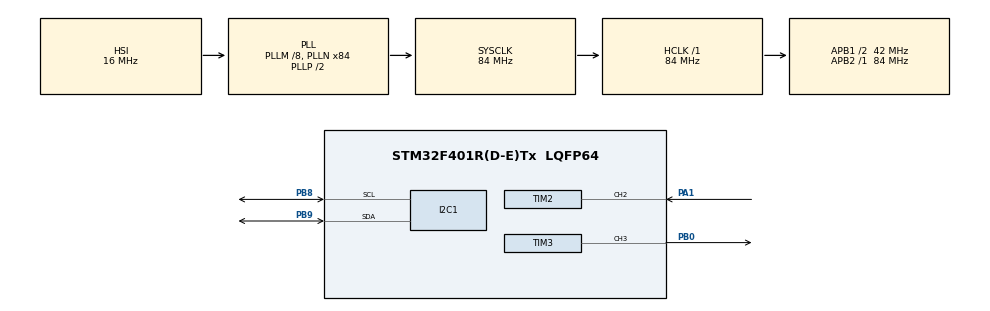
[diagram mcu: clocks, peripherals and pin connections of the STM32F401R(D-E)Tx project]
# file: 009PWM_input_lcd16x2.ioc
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Mcu.Family=STM32F4
Mcu.Name=STM32F401R(D-E)Tx
Mcu.Package=LQFP64
NVIC.PriorityGroup=NVIC_PRIORITYGROUP_4
NVIC.TIM2_IRQn=true\:0\:0\:false\:false\:true\:true\:true
PA1.Signal=S_TIM2_CH2
PB0.Signal=S_TIM3_CH3
PB8.Mode=I2C
PB8.Signal=I2C1_SCL
PB9.Mode=I2C
PB9.Signal=I2C1_SDA
PH0\ -\ OSC_IN.Mode=HSE-External-Clock-Source
PH0\ -\ OSC_IN.Signal=RCC_OSC_IN
PH1\ -\ OSC_OUT.Mode=HSE-External-Clock-Source
PH1\ -\ OSC_OUT.Signal=RCC_OSC_OUT
ProjectManager.HeapSize=0x200
ProjectManager.StackSize=0x400
ProjectManager.TargetToolchain=STM32CubeIDE
RCC.48MHZClocksFreq_Value=42000000
RCC.AHBFreq_Value=84000000
RCC.APB1CLKDivider=RCC_HCLK_DIV2
RCC.APB1Freq_Value=42000000
RCC.APB1TimFreq_Value=84000000
RCC.APB2Freq_Value=84000000
RCC.APB2TimFreq_Value=84000000
RCC.CortexFreq_Value=84000000
RCC.HCLKFreq_Value=84000000
RCC.HSE_VALUE=25000000
RCC.HSI_VALUE=16000000
RCC.LSE_VALUE=32768
RCC.PLLM=8
RCC.PLLN=84
RCC.SYSCLKFreq_VALUE=84000000
RCC.SYSCLKSource=RCC_SYSCLKSOURCE_PLLCLK
RCC.VCOOutputFreq_Value=168000000
SH.S_TIM2_CH2.0=TIM2_CH2,Input_Capture2_from_TI2
SH.S_TIM3_CH3.0=TIM3_CH3,PWM Generation3 CH3
TIM2.Channel-Input_Capture2_from_TI2=TIM_CHANNEL_2
TIM2.Period=0xffff-1
TIM2.Prescaler=84-1
TIM3.Channel-PWM\ Generation3\ CH3=TIM_CHANNEL_3
TIM3.Period=1000-1
TIM3.Prescaler=84-1
board=custom

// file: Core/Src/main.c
/* USER CODE BEGIN Header */
/**
  ******************************************************************************
  * @file           : main.c
  * @brief          : Main program body
  ******************************************************************************
  * @attention
  *
  * <h2><center>&copy; Copyright (c) 2020 STMicroelectronics.
  * All rights reserved.</center></h2>
  *
  * This software component is licensed by ST under BSD 3-Clause license,
  * the "License"; You may not use this file except in compliance with the
  * License. You may obtain a copy of the License at:
  *                        opensource.org/licenses/BSD-3-Clause
  *
  ******************************************************************************
  */
/* USER CODE END Header */
#include "main.h"

#include <stdio.h>

I2C_HandleTypeDef hi2c1;

TIM_HandleTypeDef htim2;
TIM_HandleTypeDef htim3;

void SystemClock_Config(void);
static void MX_GPIO_Init(void);
static void MX_I2C1_Init(void);
static void MX_TIM2_Init(void);
static void MX_TIM3_Init(void);

/* USER CODE BEGIN 0 */
uint32_t IC_Val1 = 0;
uint32_t IC_Val2 = 0;
uint32_t Difference = 0;
uint8_t Is_First_Captured = 0;
int duty=0;

void HAL_TIM_IC_CaptureCallback(TIM_HandleTypeDef *htim)
{
	if (htim->Channel == HAL_TIM_ACTIVE_CHANNEL_2)  // if the interrupt source is channel2
	{
		if (Is_First_Captured==0) // if the first value is not captured
		{
			IC_Val1 = HAL_TIM_ReadCapturedValue(htim, TIM_CHANNEL_2); // read the first value
			Is_First_Captured = 1;  // set the first captured as true
			// Now change the polarity to falling edge
			__HAL_TIM_SET_CAPTUREPOLARITY(htim, TIM_CHANNEL_2, TIM_INPUTCHANNELPOLARITY_FALLING);
		}

		else if (Is_First_Captured==1)   // if the first is already captured
		{
			IC_Val2 = HAL_TIM_ReadCapturedValue(htim, TIM_CHANNEL_2);  // read second value
			__HAL_TIM_SET_COUNTER(htim, 0);  // reset the counter

			if (IC_Val2 > IC_Val1)
			{
				Difference = IC_Val2-IC_Val1;
				duty = (int) 100*Difference/IC_Val2;
			}

			Is_First_Captured = 0; // set it back to false

			// set polarity to rising edge
			__HAL_TIM_SET_CAPTUREPOLARITY(htim, TIM_CHANNEL_2, TIM_INPUTCHANNELPOLARITY_RISING);

		}
	}
}

/* USER CODE END 0 */

int main(void)
{
  /* USER CODE BEGIN 1 */
  char buffer [4];
  /* USER CODE END 1 */

  /* MCU Configuration--------------------------------------------------------*/

  /* Reset of all peripherals, Initializes the Flash interface and the Systick. */
  HAL_Init();

  /* Configure the system clock */
  SystemClock_Config();

  /* Initialize all configured peripherals */
  MX_GPIO_Init();
  MX_I2C1_Init();
  MX_TIM2_Init();
  MX_TIM3_Init();
  /* USER CODE BEGIN 2 */
  lcd_init();

  HAL_TIM_PWM_Start(&htim3, TIM_CHANNEL_3);

  TIM3->CCR3 = 0;

  HAL_TIM_IC_Start_IT(&htim2, TIM_CHANNEL_2);

  /* USER CODE END 2 */
  lcd_clear();
  lcd_put_cur(0,0);

  lcd_send_string("INICIO DO TESTE!");

  HAL_Delay(1000);

  lcd_clear();
  /* Infinite loop */
  while (1)
  {

    /* USER CODE BEGIN 3 */
	  HAL_Delay(1);
	  lcd_put_cur(0, 0);
	  lcd_send_string("PWM:");
	  sprintf(buffer, "%d", (int) TIM3->CCR3);
	  lcd_send_string(buffer);

	  lcd_put_cur(1, 0);

	  lcd_send_string("medido:");
	  sprintf(buffer, "%d", (int) duty);
	  lcd_send_string(buffer);

	  HAL_Delay(500);

	  if(TIM3->CCR3 == 1000) TIM3->CCR3 = 0;
	  else TIM3->CCR3 += 100;

	  lcd_clear();
  }
  /* USER CODE END 3 */
}

void SystemClock_Config(void)
{
  RCC_OscInitTypeDef RCC_OscInitStruct = {0};
  RCC_ClkInitTypeDef RCC_ClkInitStruct = {0};

  /** Configure the main internal regulator output voltage
  */
  __HAL_RCC_PWR_CLK_ENABLE();
  __HAL_PWR_VOLTAGESCALING_CONFIG(PWR_REGULATOR_VOLTAGE_SCALE2);
  /** Initializes the RCC Oscillators according to the specified parameters
  * in the RCC_OscInitTypeDef structure.
  */
  RCC_OscInitStruct.OscillatorType = RCC_OSCILLATORTYPE_HSI;
  RCC_OscInitStruct.HSIState = RCC_HSI_ON;
  RCC_OscInitStruct.HSICalibrationValue = RCC_HSICALIBRATION_DEFAULT;
  RCC_OscInitStruct.PLL.PLLState = RCC_PLL_ON;
  RCC_OscInitStruct.PLL.PLLSource = RCC_PLLSOURCE_HSI;
  RCC_OscInitStruct.PLL.PLLM = 8;
  RCC_OscInitStruct.PLL.PLLN = 84;
  RCC_OscInitStruct.PLL.PLLP = RCC_PLLP_DIV2;
  RCC_OscInitStruct.PLL.PLLQ = 4;
  if (HAL_RCC_OscConfig(&RCC_OscInitStruct) != HAL_OK)
  {
    Error_Handler();
  }
  /** Initializes the CPU, AHB and APB buses clocks
  */
  RCC_ClkInitStruct.ClockType = RCC_CLOCKTYPE_HCLK|RCC_CLOCKTYPE_SYSCLK
                              |RCC_CLOCKTYPE_PCLK1|RCC_CLOCKTYPE_PCLK2;
  RCC_ClkInitStruct.SYSCLKSource = RCC_SYSCLKSOURCE_PLLCLK;
  RCC_ClkInitStruct.AHBCLKDivider = RCC_SYSCLK_DIV1;
  RCC_ClkInitStruct.APB1CLKDivider = RCC_HCLK_DIV2;
  RCC_ClkInitStruct.APB2CLKDivider = RCC_HCLK_DIV1;

  if (HAL_RCC_ClockConfig(&RCC_ClkInitStruct, FLASH_LATENCY_2) != HAL_OK)
  {
    Error_Handler();
  }
}

static void MX_I2C1_Init(void)
{

  hi2c1.Instance = I2C1;
  hi2c1.Init.ClockSpeed = 100000;
  hi2c1.Init.DutyCycle = I2C_DUTYCYCLE_2;
  hi2c1.Init.OwnAddress1 = 0;
  hi2c1.Init.AddressingMode = I2C_ADDRESSINGMODE_7BIT;
  hi2c1.Init.DualAddressMode = I2C_DUALADDRESS_DISABLE;
  hi2c1.Init.OwnAddress2 = 0;
  hi2c1.Init.GeneralCallMode = I2C_GENERALCALL_DISABLE;
  hi2c1.Init.NoStretchMode = I2C_NOSTRETCH_DISABLE;
  if (HAL_I2C_Init(&hi2c1) != HAL_OK)
  {
    Error_Handler();
  }

}

static void MX_TIM2_Init(void)
{

  TIM_MasterConfigTypeDef sMasterConfig = {0};
  TIM_IC_InitTypeDef sConfigIC = {0};

  htim2.Instance = TIM2;
  htim2.Init.Prescaler = 84-1;
  htim2.Init.CounterMode = TIM_COUNTERMODE_UP;
  htim2.Init.Period = 0xffff-1;
  htim2.Init.ClockDivision = TIM_CLOCKDIVISION_DIV1;
  htim2.Init.AutoReloadPreload = TIM_AUTORELOAD_PRELOAD_DISABLE;
  if (HAL_TIM_IC_Init(&htim2) != HAL_OK)
  {
    Error_Handler();
  }
  sMasterConfig.MasterOutputTrigger = TIM_TRGO_RESET;
  sMasterConfig.MasterSlaveMode = TIM_MASTERSLAVEMODE_DISABLE;
  if (HAL_TIMEx_MasterConfigSynchronization(&htim2, &sMasterConfig) != HAL_OK)
  {
    Error_Handler();
  }
  sConfigIC.ICPolarity = TIM_INPUTCHANNELPOLARITY_RISING;
  sConfigIC.ICSelection = TIM_ICSELECTION_DIRECTTI;
  sConfigIC.ICPrescaler = TIM_ICPSC_DIV1;
  sConfigIC.ICFilter = 0;
  if (HAL_TIM_IC_ConfigChannel(&htim2, &sConfigIC, TIM_CHANNEL_2) != HAL_OK)
  {
    Error_Handler();
  }

}

static void MX_TIM3_Init(void)
{

  TIM_MasterConfigTypeDef sMasterConfig = {0};
  TIM_OC_InitTypeDef sConfigOC = {0};

  htim3.Instance = TIM3;
  htim3.Init.Prescaler = 84-1;
  htim3.Init.CounterMode = TIM_COUNTERMODE_UP;
  htim3.Init.Period = 1000-1;
  htim3.Init.ClockDivision = TIM_CLOCKDIVISION_DIV1;
  htim3.Init.AutoReloadPreload = TIM_AUTORELOAD_PRELOAD_DISABLE;
  if (HAL_TIM_PWM_Init(&htim3) != HAL_OK)
  {
    Error_Handler();
  }
  sMasterConfig.MasterOutputTrigger = TIM_TRGO_RESET;
  sMasterConfig.MasterSlaveMode = TIM_MASTERSLAVEMODE_DISABLE;
  if (HAL_TIMEx_MasterConfigSynchronization(&htim3, &sMasterConfig) != HAL_OK)
  {
    Error_Handler();
  }
  sConfigOC.OCMode = TIM_OCMODE_PWM1;
  sConfigOC.Pulse = 0;
  sConfigOC.OCPolarity = TIM_OCPOLARITY_HIGH;
  sConfigOC.OCFastMode = TIM_OCFAST_DISABLE;
  if (HAL_TIM_PWM_ConfigChannel(&htim3, &sConfigOC, TIM_CHANNEL_3) != HAL_OK)
  {
    Error_Handler();
  }
  HAL_TIM_MspPostInit(&htim3);

}

static void MX_GPIO_Init(void)
{

  /* GPIO Ports Clock Enable */
  __HAL_RCC_GPIOH_CLK_ENABLE();
  __HAL_RCC_GPIOA_CLK_ENABLE();
  __HAL_RCC_GPIOB_CLK_ENABLE();

}

void Error_Handler(void)
{
}

/************************ (C) COPYRIGHT STMicroelectronics *****END OF FILE****/
